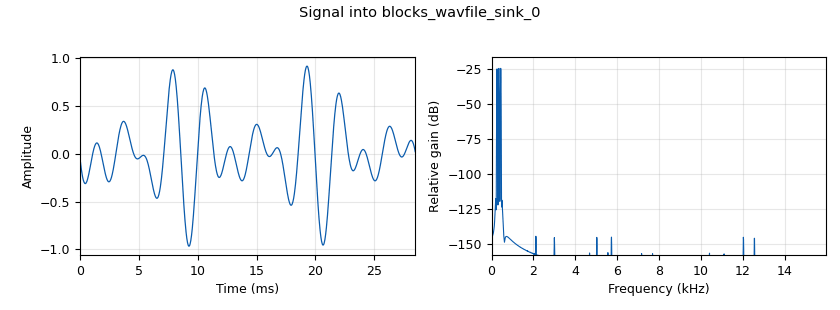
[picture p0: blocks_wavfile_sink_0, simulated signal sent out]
options:
  parameters:
    generate_options: qt_gui
    id: ec415_lab1_kremerme_cgeron
    output_language: python
    title: Not titled yet
  states: {}

blocks:
- name: A
  id: variable
  parameters:
    value: '440'
  states: {}
- name: C
  id: variable
  parameters:
    value: '262'
  states: {}
- name: F
  id: variable
  parameters:
    value: '349'
  states: {}
- name: num_notes
  id: variable
  parameters:
    value: '3'
  states: {}
- name: samp_rate
  id: variable
  parameters:
    value: '32000'
  states: {}
- name: samples_per_symbol
  id: variable
  parameters:
    value: '200'
  states: {}
- name: analog_sig_source_x_0
  id: analog_sig_source_x
  parameters:
    amp: '.99'
    freq: F
    offset: '0'
    phase: '0'
    samp_rate: samp_rate
    type: float
    waveform: analog.GR_COS_WAVE
  states: {}
- name: analog_sig_source_x_1
  id: analog_sig_source_x
  parameters:
    amp: '.99'
    freq: C
    offset: '0'
    phase: '0'
    samp_rate: samp_rate
    type: float
    waveform: analog.GR_COS_WAVE
  states: {}
- name: analog_sig_source_x_2
  id: analog_sig_source_x
  parameters:
    amp: '.99'
    freq: A
    offset: '0'
    phase: '0'
    samp_rate: samp_rate
    type: float
    waveform: analog.GR_COS_WAVE
  states: {}
- name: blocks_add_xx_0
  id: blocks_add_xx
  parameters:
    num_inputs: num_notes
    type: float
  states: {}
- name: blocks_multiply_const_vxx_0
  id: blocks_multiply_const_vxx
  parameters:
    const: 1/num_notes
    type: float
  states: {}
- name: blocks_multiply_xx_0
  id: blocks_multiply_xx
  parameters:
    num_inputs: num_notes
    type: float
  states: {state: disabled}
- name: blocks_wavfile_sink_0
  id: blocks_wavfile_sink
  parameters:
    bits_per_sample: '8'
    file: /ad/eng/users/k/r/kremerme/Desktop/ec415/ec415/lab1/sin.wav
    samp_rate: '32000'
  states: {}

connections:
- [analog_sig_source_x_0, '0', blocks_add_xx_0, '1']
- [analog_sig_source_x_1, '0', blocks_add_xx_0, '2']
- [analog_sig_source_x_2, '0', blocks_add_xx_0, '0']
- [blocks_add_xx_0, '0', blocks_multiply_const_vxx_0, '0']
- [blocks_multiply_const_vxx_0, '0', blocks_wavfile_sink_0, '0']

metadata:
  file_format: 1
